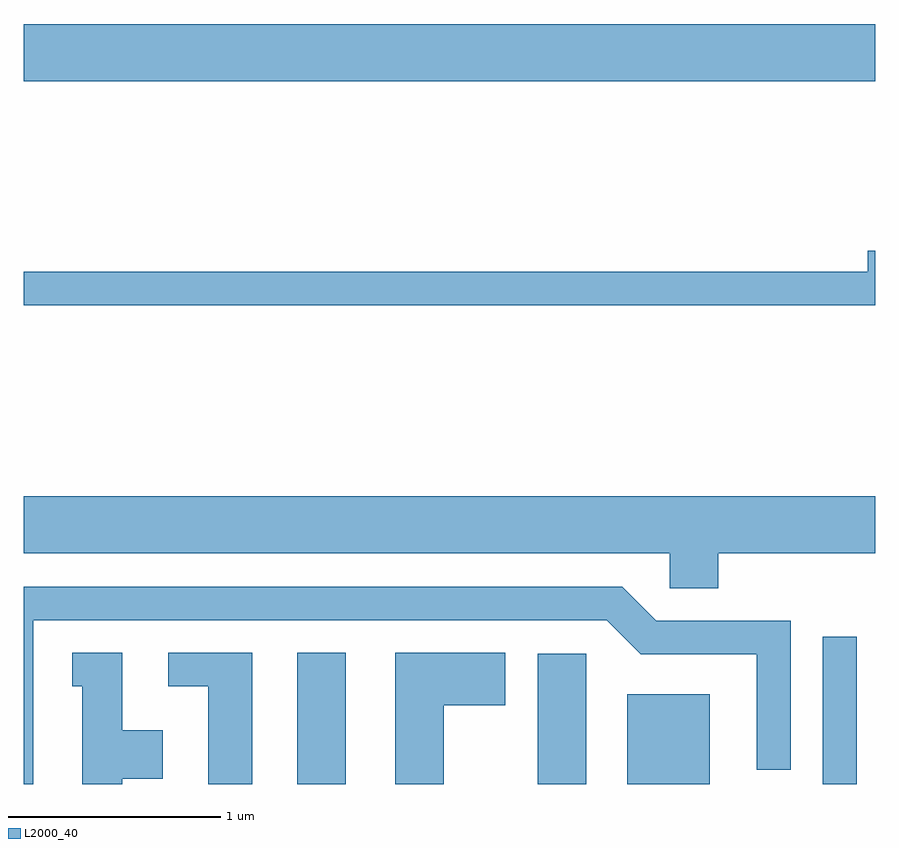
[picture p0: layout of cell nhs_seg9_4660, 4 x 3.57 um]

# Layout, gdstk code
import gdstk
lib = gdstk.Library(unit=1e-6, precision=1e-09)
def R(c, l, rs):  # rectangles x0, y0, x1, y1
    for r in rs: c.add(gdstk.rectangle(r[:2], r[2:], *l))
def P(c, l, *ps):  # polygons
    for p in ps: c.add(gdstk.Polygon(p, *l))
L2000_40 = (2000, 40)

nhs_seg9_4660 = lib.new_cell('nhs_seg9_4660')
R(nhs_seg9_4660, L2000_40, [(322.896,2068.432,323.124,2069.049), (324.026,2068.432,324.254,2069.044), (324.446,2068.432,324.834,2068.854), (325.366,2068.432,325.524,2069.123), (321.611,2071.736,325.611,2072.004)])
P(nhs_seg9_4660, L2000_40, [(325.611,2070.939),(325.576,2070.939),(325.576,2070.839),(321.611,2070.839),(321.611,2070.681),(325.611,2070.681)],
  [(324.874,2069.516),(325.611,2069.516),(325.611,2069.784),(321.611,2069.784),(321.611,2069.516),(324.646,2069.516),(324.646,2069.351),(324.874,2069.351)],
  [(321.654,2069.201),(324.349,2069.201),(324.509,2069.041),(325.056,2069.041),(325.056,2068.498),(325.214,2068.498),(325.214,2069.199),(324.582,2069.199),(324.422,2069.359),(321.611,2069.359),(321.611,2068.432),(321.654,2068.432)],
  [(322.684,2069.049),(322.288,2069.049),(322.288,2068.891),(322.476,2068.891),(322.476,2068.432),(322.684,2068.432)],
  [(323.584,2068.801),(323.874,2068.801),(323.874,2069.049),(323.356,2069.049),(323.356,2068.432),(323.584,2068.432)],
  [(322.074,2068.456),(322.264,2068.456),(322.264,2068.684),(322.074,2068.684),(322.074,2069.049),(321.838,2069.049),(321.838,2068.891),(321.886,2068.891),(321.886,2068.432),(322.074,2068.432)])

lib.write_gds('nhs_seg9_4660.gds')
